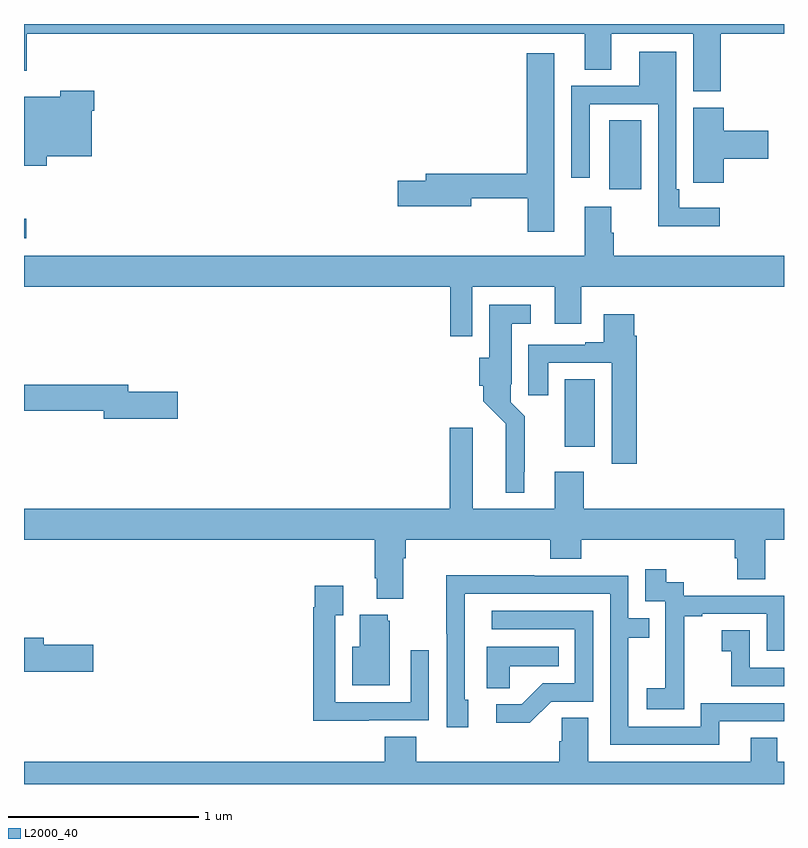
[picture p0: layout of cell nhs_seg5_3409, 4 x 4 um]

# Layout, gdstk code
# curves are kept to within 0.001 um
import gdstk
lib = gdstk.Library(unit=1e-6, precision=1e-09)
def R(c, l, rs):  # rectangles x0, y0, x1, y1
    for r in rs: c.add(gdstk.rectangle(r[:2], r[2:], *l))
def P(c, l, *ps):  # polygons
    for p in ps: c.add(gdstk.Polygon(p, *l))
L2000_40 = (2000, 40)

nhs_seg5_3409 = lib.new_cell('nhs_seg5_3409')
R(nhs_seg5_3409, L2000_40, [(313.847,866.574,314.005,866.93), (311,867.672,311.011,867.773), (314.081,867.93,314.248,868.292)])
P(nhs_seg5_3409, L2000_40, [(314.666,868.748),(315,868.748),(315,868.799),(311,868.799),(311,868.554),(311.015,868.554),(311.015,868.748),(313.952,868.748),(313.952,868.558),(314.092,868.558),(314.092,868.748),(314.522,868.748),(314.522,868.444),(314.666,868.444)],
  [(314.662,867.832),(314.449,867.832),(314.449,867.928),(314.433,867.928),(314.433,868.654),(314.237,868.654),(314.237,868.473),(313.881,868.473),(313.881,867.99),(313.977,867.99),(313.977,868.377),(314.337,868.377),(314.337,867.734),(314.662,867.734)],
  [(313.792,868.645),(313.646,868.645),(313.646,868.01),(313.115,868.01),(313.115,867.974),(312.966,867.974),(312.966,867.839),(313.354,867.839),(313.354,867.882),(313.651,867.882),(313.651,867.705),(313.792,867.705)],
  [(311.119,868.103),(311.356,868.103),(311.356,868.343),(311.369,868.343),(311.369,868.447),(311.191,868.447),(311.191,868.417),(311,868.417),(311,868.052),(311.119,868.052)],
  [(314.684,868.091),(314.917,868.091),(314.917,868.238),(314.684,868.238),(314.684,868.359),(314.522,868.359),(314.522,868.075),(314.523,868.075),(314.523,867.963),(314.684,867.963)],
  [(313.359,867.416),(313.793,867.416),(313.793,867.222),(313.933,867.222),(313.933,867.416),(315,867.416),(315,867.58),(314.105,867.58),(314.105,867.701),(314.092,867.701),(314.092,867.838),(313.952,867.838),(313.952,867.58),(311,867.58),(311,867.416),(313.243,867.416),(313.243,867.156),(313.359,867.156)],
  [(313.633,866.443),(313.636,866.443),(313.636,866.735),(313.563,866.808),(313.563,866.902),(313.567,866.902),(313.567,867.221),(313.666,867.221),(313.666,867.322),(313.448,867.322),(313.448,867.042),(313.397,867.042),(313.397,866.894),(313.418,866.894),(313.418,866.814),(313.536,866.696),(313.535,866.333),(313.633,866.333)],
  [(314.225,867.158),(314.212,867.158),(314.212,867.271),(314.051,867.271),(314.051,867.124),(313.955,867.124),(313.955,867.111),(313.655,867.111),(313.655,866.844),(313.759,866.844),(313.759,867.015),(314.093,867.015),(314.093,866.484),(314.225,866.484)],
  [(311.809,866.864),(311.548,866.864),(311.548,866.9),(311,866.9),(311,866.764),(311.42,866.764),(311.42,866.722),(311.809,866.722)],
  [(312.997,865.988),(313.01,865.988),(313.01,866.084),(313.769,866.084),(313.769,865.985),(313.934,865.985),(313.934,866.084),(314.741,866.084),(314.741,865.986),(314.753,865.986),(314.753,865.876),(314.901,865.876),(314.901,866.084),(315,866.084),(315,866.248),(313.946,866.248),(313.946,866.443),(313.793,866.443),(313.793,866.248),(313.363,866.248),(313.363,866.674),(313.241,866.674),(313.241,866.248),(311,866.248),(311,866.084),(312.845,866.084),(312.845,865.882),(312.857,865.882),(312.857,865.775),(312.997,865.775)],
  [(314.475,865.399),(314.474,865.399),(314.474,865.683),(314.569,865.683),(314.569,865.695),(314.91,865.695),(314.91,865.5),(315,865.5),(315,865.791),(314.472,865.791),(314.472,865.86),(314.38,865.86),(314.38,865.93),(314.271,865.93),(314.271,865.761),(314.376,865.761),(314.376,865.532),(314.375,865.532),(314.375,865.303),(314.277,865.303),(314.277,865.193),(314.475,865.193)],
  [(314.659,865.128),(315,865.128),(315,865.224),(314.562,865.224),(314.562,865.101),(314.181,865.101),(314.181,865.57),(314.291,865.57),(314.291,865.671),(314.181,865.671),(314.181,865.896),(313.685,865.896),(313.685,865.898),(313.222,865.898),(313.222,865.591),(313.224,865.591),(313.224,865.098),(313.339,865.098),(313.339,865.242),(313.32,865.242),(313.32,865.8),(314.085,865.8),(314.085,865.005),(314.659,865.005)],
  [(312.815,865.134),(313.131,865.134),(313.131,865.504),(313.035,865.504),(313.035,865.23),(312.639,865.23),(312.639,865.687),(312.679,865.687),(312.679,865.843),(312.531,865.843),(312.531,865.73),(312.523,865.73),(312.523,865.133),(312.815,865.133)],
  [(313.776,865.233),(313.995,865.233),(313.995,865.71),(313.461,865.71),(313.461,865.614),(313.899,865.614),(313.899,865.329),(313.73,865.329),(313.619,865.218),(313.485,865.218),(313.485,865.121),(313.663,865.121)],
  [(312.925,865.659),(312.914,865.659),(312.914,865.69),(312.767,865.69),(312.767,865.522),(312.728,865.522),(312.728,865.319),(312.925,865.319)],
  [(315,865.41),(314.82,865.41),(314.82,865.609),(314.673,865.609),(314.673,865.499),(314.722,865.499),(314.722,865.314),(315,865.314)],
  [(311.365,865.532),(311.104,865.532),(311.104,865.568),(311,865.568),(311,865.39),(311.365,865.39)],
  [(313.557,865.418),(313.814,865.418),(313.814,865.522),(313.436,865.522),(313.436,865.303),(313.557,865.303)],
  [(315,864.916),(314.964,864.916),(314.964,865.043),(314.825,865.043),(314.825,864.916),(313.969,864.916),(313.969,865.148),(313.83,865.148),(313.83,865.025),(313.817,865.025),(313.817,864.916),(313.064,864.916),(313.064,865.049),(312.899,865.049),(312.899,864.916),(311,864.916),(311,864.799),(315,864.799)])

lib.write_gds('nhs_seg5_3409.gds')
